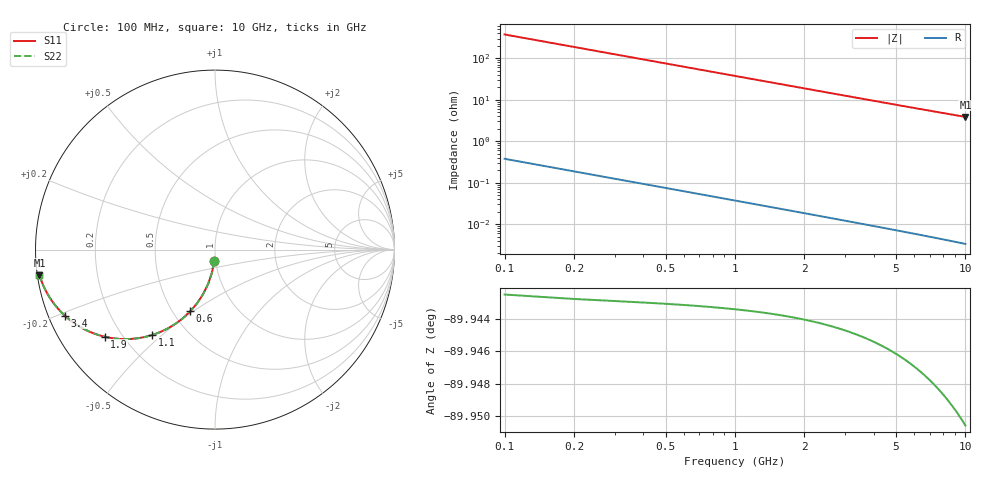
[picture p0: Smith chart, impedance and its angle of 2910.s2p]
# Hz S RI R 50.00
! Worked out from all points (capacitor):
!   100 points, 100 MHz to 10 GHz, reference 50 ohm
!   read as one part in shunt: C = 4.24 pF near 100 MHz
!   lowest |Z| = 3.86 ohm at 10 GHz (marker M1)
!   S11 on the Smith chart (normalised r, x): 100 MHz: 0.98, -0.13; 600 MHz: 0.61, -0.49; 1.1 GHz: 0.32, -0.46; 1.9 GHz: 0.14, -0.34; 3.4 GHz: 0.05, -0.21; 10 GHz: 0.01, -0.07
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1e8  -0.00446 -0.0663  0.9955 -0.0663  0.9955 -0.0663  -0.00446 -0.0663
2e8  -0.0175 -0.1308  0.9824 -0.1309  0.9824 -0.1309  -0.0175 -0.1308
3e8  -0.0385 -0.1919  0.9614 -0.1922  0.9614 -0.1922  -0.0385 -0.1919
4e8  -0.0665 -0.2485  0.9335 -0.2488  0.9335 -0.2488  -0.0665 -0.2485
5e8  -0.1 -0.2994  0.8999 -0.2998  0.8999 -0.2998  -0.1 -0.2994
6e8  -0.1379 -0.3441  0.862 -0.3446  0.862 -0.3446  -0.1379 -0.3441
7e8  -0.1787 -0.3823  0.8212 -0.383  0.8212 -0.383  -0.1787 -0.3823
8e8  -0.2213 -0.4143  0.7787 -0.415  0.7787 -0.415  -0.2213 -0.4143
9e8  -0.2644 -0.4402  0.7355 -0.4409  0.7355 -0.4409  -0.2644 -0.4402
1.1e9  -0.3493 -0.4758  0.6507 -0.4767  0.6507 -0.4767  -0.3493 -0.4758
1.4e9  -0.4649 -0.4977  0.5351 -0.4989  0.5351 -0.4989  -0.4649 -0.4977
1.8e9  -0.5893 -0.4907  0.4107 -0.4922  0.4107 -0.4922  -0.5893 -0.4907
1.9e9  -0.6151 -0.4852  0.3848 -0.4869  0.3848 -0.4869  -0.6151 -0.4852
2.2e9  -0.6817 -0.4644  0.3183 -0.4663  0.3183 -0.4663  -0.6817 -0.4644
2.6e9  -0.7493 -0.4318  0.2507 -0.434  0.2507 -0.434  -0.7493 -0.4318
3e9  -0.799 -0.3989  0.2009 -0.4015  0.2009 -0.4015  -0.799 -0.3989
3.4e9  -0.8362 -0.3681  0.1638 -0.3711  0.1638 -0.3711  -0.8362 -0.3681
4.2e9  -0.8861 -0.3153  0.1139 -0.319  0.1139 -0.319  -0.8861 -0.3153
5.1e9  -0.9197 -0.2689  0.0802 -0.2734  0.0802 -0.2734  -0.9197 -0.2689
6.7e9  -0.9518 -0.2106  0.0481 -0.2165  0.0481 -0.2165  -0.9518 -0.2106
8.4e9  -0.9688 -0.1695  0.0311 -0.177  0.0311 -0.177  -0.9688 -0.1695
1e10  -0.9778 -0.1422  0.0221 -0.1511  0.0221 -0.1511  -0.9778 -0.1422
